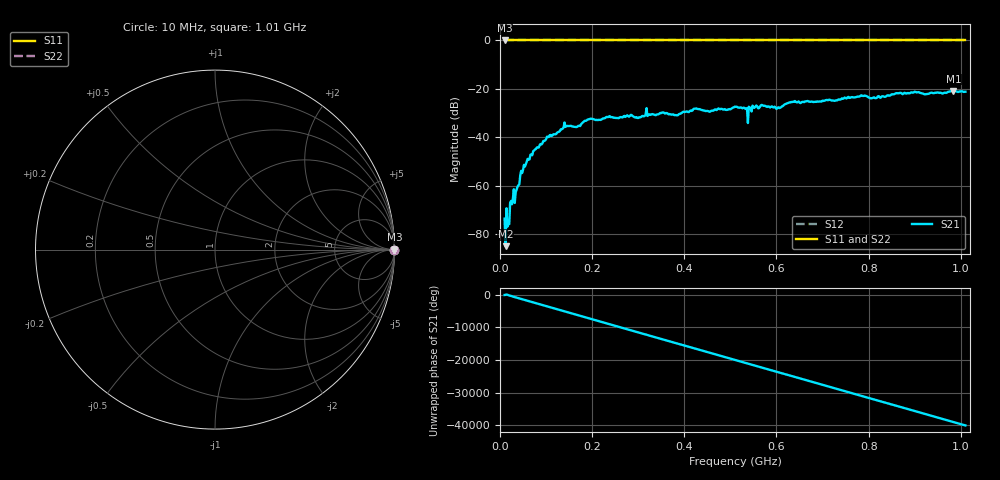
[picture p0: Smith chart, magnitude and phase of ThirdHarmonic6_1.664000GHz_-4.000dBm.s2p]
! 8/16/2025 7:56:23 PM
! C:\ANRITSUVNA\TEMP\TEMP.S2P
! CHANNEL.1
! TR.MEASUREMENT
! RAW.DATA
! RF.CORRECTION.OFF
! AVERAGING.OFF
! IF.BANDWIDTH: 5KHZ
! SWEEPTYPE:  FREQ.SWEEP(Linear)
! Reference Plane Port Info
! PORT:  PORT1  PORT2
! DISTANCE:  0  m  0  m
! TIME:  0  s  0  s
! PHASE.OFFSET:  0  deg.  0  deg.
! LOSS:  0  dB  0  dB
! REF.LOSS:  0  dB  0  dB
! REF.FREQ:  0  Hz  0  Hz
! Power Info
! POWER:  -20  dBm  -20  dBm
! EFF.POWER:  -20  dBm  -20  dBm
! SOURCE.ATTEN:  0  dB  0  dB
! TEST.ATTEN:  0  dB  0  dB
# GHZ S RI R 50.0
! FREQ.GHZ  S11RE  S11IM  S21RE  S21IM  S12RE  S12IM  S22RE  S22IM
!; PortSelection: Port_12
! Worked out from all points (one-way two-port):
!   501 points, 10 MHz to 1.01 GHz, reference 50 ohm
!   highest |S21| = -20.90 dB at 984 MHz (marker M1); lowest = -85.0 dB at 12 MHz (marker M2)
!   lowest |S11| = 0.0 dB at 10 MHz (marker M3)
!   |S11| at or under -10 dB: nowhere
!   |S22| runs from 0.0 to 0.0 dB; largest |S21 - S12| = 1.1
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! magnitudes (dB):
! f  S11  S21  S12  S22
! 10 MHz  0.0  -73.6  0.0  0.0
! 12 MHz  0.0  -85.0  0.0  0.0
! 16 MHz  0.0  -76.9  0.0  0.0
! 26 MHz  0.0  -67.6  0.0  0.0
! 36 MHz  0.0  -61.6  0.0  0.0
! 48 MHz  0.0  -54.8  0.0  0.0
! 76 MHz  0.0  -45.0  0.0  0.0
! 142 MHz  0.0  -35.7  0.0  0.0
! 178 MHz  0.0  -34.2  0.0  0.0
! 196 MHz  0.0  -32.4  0.0  0.0
! 344 MHz  0.0  -30.5  0.0  0.0
! 382 MHz  0.0  -30.8  0.0  0.0
! 424 MHz  0.0  -28.2  0.0  0.0
! 510 MHz  0.0  -27.3  0.0  0.0
! 542 MHz  0.0  -27.7  0.0  0.0
! 552 MHz  0.0  -27.9  0.0  0.0
! 604 MHz  0.0  -27.6  0.0  0.0
! 636 MHz  0.0  -25.3  0.0  0.0
! 678 MHz  0.0  -25.3  0.0  0.0
! 844 MHz  0.0  -22.8  0.0  0.0
! 984 MHz  0.0  -20.9  0.0  0.0
! 1.01 GHz  0.0  -21.2  0.0  0.0
